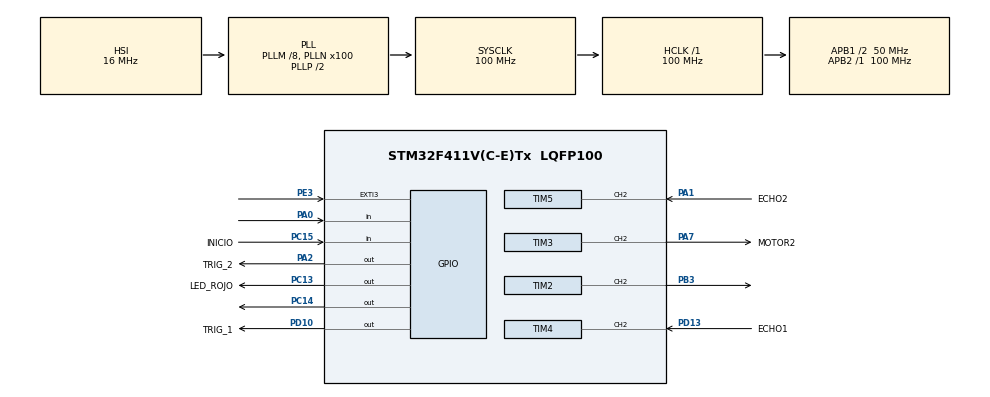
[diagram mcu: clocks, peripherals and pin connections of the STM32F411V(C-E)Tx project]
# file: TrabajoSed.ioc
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Mcu.Family=STM32F4
Mcu.Name=STM32F411V(C-E)Tx
Mcu.Package=LQFP100
NVIC.EXTI3_IRQn=true\:0\:0\:false\:false\:true\:true\:true\:true
NVIC.PriorityGroup=NVIC_PRIORITYGROUP_0
NVIC.TIM4_IRQn=true\:0\:0\:false\:false\:true\:true\:true\:true
NVIC.TIM5_IRQn=true\:0\:0\:false\:false\:true\:true\:true\:true
PA0-WKUP.GPIO_PuPd=GPIO_PULLUP
PA0-WKUP.Signal=GPIO_Input
PA1.GPIO_Label=ECHO2
PA1.Signal=S_TIM5_CH2
PA13.Mode=Serial_Wire
PA13.Signal=SYS_JTMS-SWDIO
PA14.Mode=Serial_Wire
PA14.Signal=SYS_JTCK-SWCLK
PA2.GPIO_Label=TRIG_2
PA2.Signal=GPIO_Output
PA7.GPIO_Label=MOTOR2
PA7.Signal=S_TIM3_CH2
PB3.Signal=S_TIM2_CH2
PC13-ANTI_TAMP.GPIO_Label=LED_ROJO
PC13-ANTI_TAMP.Signal=GPIO_Output
PC14-OSC32_IN.Signal=GPIO_Output
PC15-OSC32_OUT.GPIO_Label=INICIO
PC15-OSC32_OUT.GPIO_PuPd=GPIO_PULLUP
PC15-OSC32_OUT.Signal=GPIO_Input
PD10.GPIO_Label=TRIG_1
PD10.Signal=GPIO_Output
PD13.GPIO_Label=ECHO1
PD13.Signal=S_TIM4_CH2
PE3.GPIO_ModeDefaultEXTI=GPIO_MODE_IT_RISING
PE3.GPIO_PuPd=GPIO_PULLUP
PE3.Signal=GPXTI3
ProjectManager.HeapSize=0x200
ProjectManager.StackSize=0x400
ProjectManager.TargetToolchain=STM32CubeIDE
RCC.48MHZClocksFreq_Value=25000000
RCC.AHBFreq_Value=100000000
RCC.APB1CLKDivider=RCC_HCLK_DIV2
RCC.APB1Freq_Value=50000000
RCC.APB1TimFreq_Value=100000000
RCC.APB2Freq_Value=100000000
RCC.APB2TimFreq_Value=100000000
RCC.CortexFreq_Value=100000000
RCC.HCLKFreq_Value=100000000
RCC.HSE_VALUE=8000000
RCC.HSI_VALUE=16000000
RCC.LSE_VALUE=32768
RCC.PLLI2SM=5
RCC.PLLI2SN=200
RCC.PLLM=8
RCC.PLLN=100
RCC.PLLQ=8
RCC.SYSCLKFreq_VALUE=100000000
RCC.SYSCLKSource=RCC_SYSCLKSOURCE_PLLCLK
RCC.VCOOutputFreq_Value=200000000
SH.S_TIM2_CH2.0=TIM2_CH2,PWM Generation2 CH2
SH.S_TIM3_CH2.0=TIM3_CH2,PWM Generation2 CH2
SH.S_TIM4_CH2.0=TIM4_CH2,Input_Capture2_from_TI2
SH.S_TIM5_CH2.0=TIM5_CH2,Input_Capture2_from_TI2
TIM2.Channel-PWM\ Generation2\ CH2=TIM_CHANNEL_2
TIM2.Period=10000-1
TIM2.Prescaler=100-1
TIM3.Channel-PWM\ Generation2\ CH2=TIM_CHANNEL_2
TIM3.Period=10000-1
TIM3.Prescaler=100-1
TIM4.Channel-Input_Capture2_from_TI2=TIM_CHANNEL_2
TIM4.ICFilter_CH2=4
TIM4.Prescaler=100-1
TIM5.Channel-Input_Capture2_from_TI2=TIM_CHANNEL_2
TIM5.ICFilter_CH2=4
TIM5.Period=65535
TIM5.Prescaler=100-1
VP_TIM2_VS_ClockSourceINT.Mode=Internal
VP_TIM3_VS_ClockSourceINT.Mode=Internal
VP_TIM4_VS_ClockSourceINT.Mode=Internal
VP_TIM5_VS_ClockSourceINT.Mode=Internal
board=STM32F411E-DISCO

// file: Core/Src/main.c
/* USER CODE BEGIN Header */
/**
  ******************************************************************************
  * @file           : main.c
  * @brief          : Main program body
  ******************************************************************************
  * @attention
  *
  * Copyright (c) 2025 STMicroelectronics.
  * All rights reserved.
  *
  * This software is licensed under terms that can be found in the LICENSE file
  * in the root directory of this software component.
  * If no LICENSE file comes with this software, it is provided AS-IS.
  *
  ******************************************************************************
  */
/* USER CODE END Header */
#include "main.h"

/* USER CODE BEGIN Includes */
typedef enum {
    WAITING_BUTTON,
	lavando,
    MOVING_MOTOR_2,
	EMERGENCY  // Nuevo estado
} SystemState;
/* USER CODE END PTD */
volatile SystemState currentState = WAITING_BUTTON;

/* USER CODE END Includes */

/* USER CODE BEGIN PD */
// Definiciones de pines
#define BUTTON_PIN GPIO_PIN_15
#define BUTTON_PORT GPIOC

#define EMERGENCY_BUTTON_PIN GPIO_PIN_3  // Botón de emergencia en PC15
#define EMERGENCY_PORT GPIOE             // Puerto del botón de emergencia

#define USER_BUTTON_PIN GPIO_PIN_0       // Botón de usuario (rearme) en PA0
#define USER_BUTTON_PORT GPIOA          // Puerto del botón de usuario

#define LED_RED_PIN GPIO_PIN_13
#define LED_GREEN_PIN GPIO_PIN_14
#define LED_PORT GPIOC

#define MOTOR1_PIN GPIO_PIN_10
#define MOTOR2_PIN GPIO_PIN_7
#define MOTOR1_PORT GPIOB
#define MOTOR2_PORT GPIOA

#define ECHO2_PIN GPIO_PIN_1
#define TRIG2_PIN GPIO_PIN_2
#define ECHO_PIN GPIO_PIN_13
#define TRIG_PIN GPIO_PIN_10
#define ULTRASONIC_PORT GPIOD
#define ULTRASONIC_PORT2 GPIOA

/* USER CODE END PD */

/* USER CODE BEGIN PM */
uint32_t previousTime = 0;
uint32_t interval = 500;  // Intervalo de parpadeo en milisegundos
volatile uint8_t emergencyFlag = 0;
/* USER CODE END PM */

TIM_HandleTypeDef htim2;
TIM_HandleTypeDef htim3;
TIM_HandleTypeDef htim4;
TIM_HandleTypeDef htim5;

void SystemClock_Config(void);
static void MX_GPIO_Init(void);
static void MX_TIM2_Init(void);
static void MX_TIM3_Init(void);
static void MX_TIM4_Init(void);
static void MX_TIM5_Init(void);
/* USER CODE BEGIN PFP */
void delayMicroseconds(uint16_t microseconds);

void delayMicroseconds(uint16_t microseconds) {
    __HAL_TIM_SET_COUNTER(&htim4, 0); // Reinicia el contador
    while (__HAL_TIM_GET_COUNTER(&htim4) < microseconds); // Espera
}

/* USER CODE END 0 */

// Interrupción GPIO
void HAL_GPIO_EXTI_Callback(uint16_t GPIO_Pin) {
    if (GPIO_Pin == EMERGENCY_BUTTON_PIN) {
        emergencyFlag = 1; // Activar la bandera de emergencia
    }
}
float readUltrasonicDistance1(void) {
    // Emitir pulso TRIG
	    uint32_t startTime = 0, endTime = 0;
	    HAL_TIM_Base_Start(&htim4);
	    // Genera el pulso TRIG (10µs)
	    HAL_GPIO_WritePin(ULTRASONIC_PORT, TRIG_PIN, GPIO_PIN_SET);
	    delayMicroseconds(10);
	    HAL_GPIO_WritePin(ULTRASONIC_PORT, TRIG_PIN, GPIO_PIN_RESET);

	    // Espera el inicio del pulso ECHO
	    while (HAL_GPIO_ReadPin(ULTRASONIC_PORT, ECHO_PIN) == GPIO_PIN_RESET);

	    startTime = __HAL_TIM_GET_COUNTER(&htim4); // Marca el tiempo inicial

	    // Espera el final del pulso ECHO
	    while (HAL_GPIO_ReadPin(ULTRASONIC_PORT, ECHO_PIN) == GPIO_PIN_SET);

	    endTime = __HAL_TIM_GET_COUNTER(&htim4); // Marca el tiempo final

	    // Calcula la duración del pulso (en microsegundos)
	    uint32_t duration = endTime - startTime;

	    // Calcula la distancia en cm (velocidad del sonido: 34300 cm/s)
	    return (duration * 0.0343) / 2;
}
float readUltrasonicDistance2(void) {
    // Emitir pulso TRIG
	    uint32_t startTime = 0, endTime = 0;
	    HAL_TIM_Base_Start(&htim5);
	    // Genera el pulso TRIG (10µs)
	    HAL_GPIO_WritePin(ULTRASONIC_PORT2, TRIG2_PIN, GPIO_PIN_SET);
	    delayMicroseconds(10);
	    HAL_GPIO_WritePin(ULTRASONIC_PORT2, TRIG2_PIN, GPIO_PIN_RESET);

	    // Espera el inicio del pulso ECHO
	    while (HAL_GPIO_ReadPin(ULTRASONIC_PORT2, ECHO2_PIN) == GPIO_PIN_RESET);

	    startTime = __HAL_TIM_GET_COUNTER(&htim5); // Marca el tiempo inicial

	    // Espera el final del pulso ECHO
	    while (HAL_GPIO_ReadPin(ULTRASONIC_PORT2, ECHO2_PIN) == GPIO_PIN_SET);

	    endTime = __HAL_TIM_GET_COUNTER(&htim5); // Marca el tiempo final

	    // Calcula la duración del pulso (en microsegundos)
	    uint32_t duration = endTime - startTime;

	    // Calcula la distancia en cm (velocidad del sonido: 34300 cm/s)
	    return (duration * 0.0343) / 2;
}

void moveMotor1(void) {
	   __HAL_TIM_SET_COMPARE(&htim2, TIM_CHANNEL_2, 500);
	     HAL_Delay(5000);  // Tiempo para subir la barrera
	  __HAL_TIM_SET_COMPARE(&htim2, TIM_CHANNEL_2, 2000);
}

void moveMotor2(void) {
	   __HAL_TIM_SET_COMPARE(&htim3, TIM_CHANNEL_2, 500);
	     HAL_Delay(5000);  // Tiempo para subir la barrera
	  __HAL_TIM_SET_COMPARE(&htim3, TIM_CHANNEL_2, 2000);
}

void toggleLEDs(int presenceDetected) {
    if (presenceDetected) {
        HAL_GPIO_WritePin(LED_PORT, LED_RED_PIN, GPIO_PIN_SET); // Apagar LED rojo
        HAL_GPIO_WritePin(LED_PORT, LED_GREEN_PIN, GPIO_PIN_RESET); // Encender LED verde
    } else {
        HAL_GPIO_WritePin(LED_PORT, LED_RED_PIN, GPIO_PIN_RESET);   // Encender LED rojo
        HAL_GPIO_WritePin(LED_PORT, LED_GREEN_PIN, GPIO_PIN_SET); // Apagar LED verde
    }
}
void handleEmergency(void) {
    // Parpadeo de ambos LEDs (rojo y verde) en el estado de emergencia
	 while (1) {
	        // Parpadeo de los LEDs
	        HAL_GPIO_TogglePin(GPIOC, GPIO_PIN_14); // LED verde
	        HAL_GPIO_TogglePin(GPIOC, GPIO_PIN_13); // LED rojo
	        HAL_Delay(500);

	        // Verificar si el botón de rearme (PA0) fue presionado
	       if (HAL_GPIO_ReadPin(GPIOA, GPIO_PIN_0) == GPIO_PIN_RESET) {
	            currentState = WAITING_BUTTON;
	            emergencyFlag = 0; // Restablecer la bandera de emergencia
	           break; // Salir de la función de emergencia
	        }
	    }
}

void process() {
    toggleLEDs(1);

    float distance = 0.0;  // Para el ultrasonido 1
    float distance2 = 0.0; // Para el ultrasonido 2

    // Manejo de estados
    switch (currentState) {
        case WAITING_BUTTON:
            // Verificar la bandera de emergencia
            if (emergencyFlag) return;

            distance = readUltrasonicDistance1();

            if (HAL_GPIO_ReadPin(GPIOC, GPIO_PIN_15) == GPIO_PIN_RESET) {
                if (distance > 10.0) {
                    HAL_TIM_PWM_Start(&htim2, TIM_CHANNEL_2); // Iniciar motor 2
                    moveMotor1();
                    currentState = lavando; // Cambiar al estado de lavado
                }
            }
            break;

        case lavando:
            // Verificar la bandera de emergencia
            if (emergencyFlag) return;

            if (distance < 10.0) {
                for (int i = 0; i < 5; i++) {
                    HAL_GPIO_WritePin(GPIOC, GPIO_PIN_14, GPIO_PIN_SET);
                    HAL_Delay(1000); // Simula tiempo de lavado
                    HAL_GPIO_WritePin(GPIOC, GPIO_PIN_14, GPIO_PIN_RESET);
                    HAL_Delay(1000);

                    // Verificar la bandera de emergencia en cada iteración
                    if (emergencyFlag) return;
                }
                currentState = MOVING_MOTOR_2; // Cambiar al estado de mover motor 2
            }
            break;

        case MOVING_MOTOR_2:
            // Verificar la bandera de emergencia
            if (emergencyFlag) return;

            distance2 = readUltrasonicDistance2();
            if (distance2 < 7.0) {
                HAL_TIM_PWM_Start(&htim3, TIM_CHANNEL_2); // Iniciar motor 2
                moveMotor2();                             // Mover motor 2
                toggleLEDs(1);                            // Encender LED rojo
                currentState = WAITING_BUTTON;            // Volver al estado inicial
            }
            break;

        default:
            currentState = WAITING_BUTTON; // Reiniciar estado por seguridad
            break;
    }
}

/* USER CODE END PFP */

int main(void)
{

  /* MCU Configuration--------------------------------------------------------*/

  /* Reset of all peripherals, Initializes the Flash interface and the Systick. */
  HAL_Init();

  /* Configure the system clock */
  SystemClock_Config();

  /* Initialize all configured peripherals */
  MX_GPIO_Init();
  MX_TIM2_Init();
  MX_TIM3_Init();
  MX_TIM4_Init();
  MX_TIM5_Init();

  /* Infinite loop */
  /* USER CODE BEGIN WHILE */
  while (1) {
         if (emergencyFlag) {
             handleEmergency(); // Llamar a la función de emergencia
         } else {
             process(); // Ejecutar el proceso principal
         }

         HAL_Delay(100); // Pausa para evitar uso intensivo del procesador
     }
    /* USER CODE END WHILE */

}

void SystemClock_Config(void)
{
  RCC_OscInitTypeDef RCC_OscInitStruct = {0};
  RCC_ClkInitTypeDef RCC_ClkInitStruct = {0};

  /** Configure the main internal regulator output voltage
  */
  __HAL_RCC_PWR_CLK_ENABLE();
  __HAL_PWR_VOLTAGESCALING_CONFIG(PWR_REGULATOR_VOLTAGE_SCALE1);

  /** Initializes the RCC Oscillators according to the specified parameters
  * in the RCC_OscInitTypeDef structure.
  */
  RCC_OscInitStruct.OscillatorType = RCC_OSCILLATORTYPE_HSI;
  RCC_OscInitStruct.HSIState = RCC_HSI_ON;
  RCC_OscInitStruct.HSICalibrationValue = RCC_HSICALIBRATION_DEFAULT;
  RCC_OscInitStruct.PLL.PLLState = RCC_PLL_ON;
  RCC_OscInitStruct.PLL.PLLSource = RCC_PLLSOURCE_HSI;
  RCC_OscInitStruct.PLL.PLLM = 8;
  RCC_OscInitStruct.PLL.PLLN = 100;
  RCC_OscInitStruct.PLL.PLLP = RCC_PLLP_DIV2;
  RCC_OscInitStruct.PLL.PLLQ = 8;
  if (HAL_RCC_OscConfig(&RCC_OscInitStruct) != HAL_OK)
  {
    Error_Handler();
  }

  /** Initializes the CPU, AHB and APB buses clocks
  */
  RCC_ClkInitStruct.ClockType = RCC_CLOCKTYPE_HCLK|RCC_CLOCKTYPE_SYSCLK
                              |RCC_CLOCKTYPE_PCLK1|RCC_CLOCKTYPE_PCLK2;
  RCC_ClkInitStruct.SYSCLKSource = RCC_SYSCLKSOURCE_PLLCLK;
  RCC_ClkInitStruct.AHBCLKDivider = RCC_SYSCLK_DIV1;
  RCC_ClkInitStruct.APB1CLKDivider = RCC_HCLK_DIV2;
  RCC_ClkInitStruct.APB2CLKDivider = RCC_HCLK_DIV1;

  if (HAL_RCC_ClockConfig(&RCC_ClkInitStruct, FLASH_LATENCY_3) != HAL_OK)
  {
    Error_Handler();
  }
}

static void MX_TIM2_Init(void)
{

  TIM_ClockConfigTypeDef sClockSourceConfig = {0};
  TIM_MasterConfigTypeDef sMasterConfig = {0};
  TIM_OC_InitTypeDef sConfigOC = {0};

  htim2.Instance = TIM2;
  htim2.Init.Prescaler = 100-1;
  htim2.Init.CounterMode = TIM_COUNTERMODE_UP;
  htim2.Init.Period = 10000-1;
  htim2.Init.ClockDivision = TIM_CLOCKDIVISION_DIV1;
  htim2.Init.AutoReloadPreload = TIM_AUTORELOAD_PRELOAD_DISABLE;
  if (HAL_TIM_Base_Init(&htim2) != HAL_OK)
  {
    Error_Handler();
  }
  sClockSourceConfig.ClockSource = TIM_CLOCKSOURCE_INTERNAL;
  if (HAL_TIM_ConfigClockSource(&htim2, &sClockSourceConfig) != HAL_OK)
  {
    Error_Handler();
  }
  if (HAL_TIM_PWM_Init(&htim2) != HAL_OK)
  {
    Error_Handler();
  }
  sMasterConfig.MasterOutputTrigger = TIM_TRGO_RESET;
  sMasterConfig.MasterSlaveMode = TIM_MASTERSLAVEMODE_DISABLE;
  if (HAL_TIMEx_MasterConfigSynchronization(&htim2, &sMasterConfig) != HAL_OK)
  {
    Error_Handler();
  }
  sConfigOC.OCMode = TIM_OCMODE_PWM1;
  sConfigOC.Pulse = 0;
  sConfigOC.OCPolarity = TIM_OCPOLARITY_HIGH;
  sConfigOC.OCFastMode = TIM_OCFAST_DISABLE;
  if (HAL_TIM_PWM_ConfigChannel(&htim2, &sConfigOC, TIM_CHANNEL_2) != HAL_OK)
  {
    Error_Handler();
  }
  HAL_TIM_MspPostInit(&htim2);

}

static void MX_TIM3_Init(void)
{

  TIM_ClockConfigTypeDef sClockSourceConfig = {0};
  TIM_MasterConfigTypeDef sMasterConfig = {0};
  TIM_OC_InitTypeDef sConfigOC = {0};

  htim3.Instance = TIM3;
  htim3.Init.Prescaler = 100-1;
  htim3.Init.CounterMode = TIM_COUNTERMODE_UP;
  htim3.Init.Period = 10000-1;
  htim3.Init.ClockDivision = TIM_CLOCKDIVISION_DIV1;
  htim3.Init.AutoReloadPreload = TIM_AUTORELOAD_PRELOAD_DISABLE;
  if (HAL_TIM_Base_Init(&htim3) != HAL_OK)
  {
    Error_Handler();
  }
  sClockSourceConfig.ClockSource = TIM_CLOCKSOURCE_INTERNAL;
  if (HAL_TIM_ConfigClockSource(&htim3, &sClockSourceConfig) != HAL_OK)
  {
    Error_Handler();
  }
  if (HAL_TIM_PWM_Init(&htim3) != HAL_OK)
  {
    Error_Handler();
  }
  sMasterConfig.MasterOutputTrigger = TIM_TRGO_RESET;
  sMasterConfig.MasterSlaveMode = TIM_MASTERSLAVEMODE_DISABLE;
  if (HAL_TIMEx_MasterConfigSynchronization(&htim3, &sMasterConfig) != HAL_OK)
  {
    Error_Handler();
  }
  sConfigOC.OCMode = TIM_OCMODE_PWM1;
  sConfigOC.Pulse = 0;
  sConfigOC.OCPolarity = TIM_OCPOLARITY_HIGH;
  sConfigOC.OCFastMode = TIM_OCFAST_DISABLE;
  if (HAL_TIM_PWM_ConfigChannel(&htim3, &sConfigOC, TIM_CHANNEL_2) != HAL_OK)
  {
    Error_Handler();
  }
  HAL_TIM_MspPostInit(&htim3);

}

static void MX_TIM4_Init(void)
{

  TIM_ClockConfigTypeDef sClockSourceConfig = {0};
  TIM_MasterConfigTypeDef sMasterConfig = {0};
  TIM_IC_InitTypeDef sConfigIC = {0};

  htim4.Instance = TIM4;
  htim4.Init.Prescaler = 100-1;
  htim4.Init.CounterMode = TIM_COUNTERMODE_UP;
  htim4.Init.Period = 65535;
  htim4.Init.ClockDivision = TIM_CLOCKDIVISION_DIV1;
  htim4.Init.AutoReloadPreload = TIM_AUTORELOAD_PRELOAD_DISABLE;
  if (HAL_TIM_Base_Init(&htim4) != HAL_OK)
  {
    Error_Handler();
  }
  sClockSourceConfig.ClockSource = TIM_CLOCKSOURCE_INTERNAL;
  if (HAL_TIM_ConfigClockSource(&htim4, &sClockSourceConfig) != HAL_OK)
  {
    Error_Handler();
  }
  if (HAL_TIM_IC_Init(&htim4) != HAL_OK)
  {
    Error_Handler();
  }
  sMasterConfig.MasterOutputTrigger = TIM_TRGO_RESET;
  sMasterConfig.MasterSlaveMode = TIM_MASTERSLAVEMODE_DISABLE;
  if (HAL_TIMEx_MasterConfigSynchronization(&htim4, &sMasterConfig) != HAL_OK)
  {
    Error_Handler();
  }
  sConfigIC.ICPolarity = TIM_INPUTCHANNELPOLARITY_RISING;
  sConfigIC.ICSelection = TIM_ICSELECTION_DIRECTTI;
  sConfigIC.ICPrescaler = TIM_ICPSC_DIV1;
  sConfigIC.ICFilter = 4;
  if (HAL_TIM_IC_ConfigChannel(&htim4, &sConfigIC, TIM_CHANNEL_2) != HAL_OK)
  {
    Error_Handler();
  }

}

static void MX_TIM5_Init(void)
{

  TIM_ClockConfigTypeDef sClockSourceConfig = {0};
  TIM_MasterConfigTypeDef sMasterConfig = {0};
  TIM_IC_InitTypeDef sConfigIC = {0};

  htim5.Instance = TIM5;
  htim5.Init.Prescaler = 100-1;
  htim5.Init.CounterMode = TIM_COUNTERMODE_UP;
  htim5.Init.Period = 65535;
  htim5.Init.ClockDivision = TIM_CLOCKDIVISION_DIV1;
  htim5.Init.AutoReloadPreload = TIM_AUTORELOAD_PRELOAD_DISABLE;
  if (HAL_TIM_Base_Init(&htim5) != HAL_OK)
  {
    Error_Handler();
  }
  sClockSourceConfig.ClockSource = TIM_CLOCKSOURCE_INTERNAL;
  if (HAL_TIM_ConfigClockSource(&htim5, &sClockSourceConfig) != HAL_OK)
  {
    Error_Handler();
  }
  if (HAL_TIM_IC_Init(&htim5) != HAL_OK)
  {
    Error_Handler();
  }
  sMasterConfig.MasterOutputTrigger = TIM_TRGO_RESET;
  sMasterConfig.MasterSlaveMode = TIM_MASTERSLAVEMODE_DISABLE;
  if (HAL_TIMEx_MasterConfigSynchronization(&htim5, &sMasterConfig) != HAL_OK)
  {
    Error_Handler();
  }
  sConfigIC.ICPolarity = TIM_INPUTCHANNELPOLARITY_RISING;
  sConfigIC.ICSelection = TIM_ICSELECTION_DIRECTTI;
  sConfigIC.ICPrescaler = TIM_ICPSC_DIV1;
  sConfigIC.ICFilter = 4;
  if (HAL_TIM_IC_ConfigChannel(&htim5, &sConfigIC, TIM_CHANNEL_2) != HAL_OK)
  {
    Error_Handler();
  }

}

static void MX_GPIO_Init(void)
{
  GPIO_InitTypeDef GPIO_InitStruct = {0};

  /* GPIO Ports Clock Enable */
  __HAL_RCC_GPIOE_CLK_ENABLE();
  __HAL_RCC_GPIOC_CLK_ENABLE();
  __HAL_RCC_GPIOA_CLK_ENABLE();
  __HAL_RCC_GPIOD_CLK_ENABLE();
  __HAL_RCC_GPIOB_CLK_ENABLE();

  /*Configure GPIO pin Output Level */
  HAL_GPIO_WritePin(GPIOC, LED_ROJO_Pin|GPIO_PIN_14, GPIO_PIN_RESET);

  /*Configure GPIO pin Output Level */
  HAL_GPIO_WritePin(TRIG_2_GPIO_Port, TRIG_2_Pin, GPIO_PIN_RESET);

  /*Configure GPIO pin Output Level */
  HAL_GPIO_WritePin(TRIG_1_GPIO_Port, TRIG_1_Pin, GPIO_PIN_RESET);

  /*Configure GPIO pin : PE3 */
  GPIO_InitStruct.Pin = GPIO_PIN_3;
  GPIO_InitStruct.Mode = GPIO_MODE_IT_RISING;
  GPIO_InitStruct.Pull = GPIO_PULLUP;
  HAL_GPIO_Init(GPIOE, &GPIO_InitStruct);

  /*Configure GPIO pins : LED_ROJO_Pin PC14 */
  GPIO_InitStruct.Pin = LED_ROJO_Pin|GPIO_PIN_14;
  GPIO_InitStruct.Mode = GPIO_MODE_OUTPUT_PP;
  GPIO_InitStruct.Pull = GPIO_NOPULL;
  GPIO_InitStruct.Speed = GPIO_SPEED_FREQ_LOW;
  HAL_GPIO_Init(GPIOC, &GPIO_InitStruct);

  /*Configure GPIO pin : INICIO_Pin */
  GPIO_InitStruct.Pin = INICIO_Pin;
  GPIO_InitStruct.Mode = GPIO_MODE_INPUT;
  GPIO_InitStruct.Pull = GPIO_PULLUP;
  HAL_GPIO_Init(INICIO_GPIO_Port, &GPIO_InitStruct);

  /*Configure GPIO pin : PA0 */
  GPIO_InitStruct.Pin = GPIO_PIN_0;
  GPIO_InitStruct.Mode = GPIO_MODE_INPUT;
  GPIO_InitStruct.Pull = GPIO_PULLUP;
  HAL_GPIO_Init(GPIOA, &GPIO_InitStruct);

  /*Configure GPIO pin : TRIG_2_Pin */
  GPIO_InitStruct.Pin = TRIG_2_Pin;
  GPIO_InitStruct.Mode = GPIO_MODE_OUTPUT_PP;
  GPIO_InitStruct.Pull = GPIO_NOPULL;
  GPIO_InitStruct.Speed = GPIO_SPEED_FREQ_LOW;
  HAL_GPIO_Init(TRIG_2_GPIO_Port, &GPIO_InitStruct);

  /*Configure GPIO pin : TRIG_1_Pin */
  GPIO_InitStruct.Pin = TRIG_1_Pin;
  GPIO_InitStruct.Mode = GPIO_MODE_OUTPUT_PP;
  GPIO_InitStruct.Pull = GPIO_NOPULL;
  GPIO_InitStruct.Speed = GPIO_SPEED_FREQ_LOW;
  HAL_GPIO_Init(TRIG_1_GPIO_Port, &GPIO_InitStruct);

  /* EXTI interrupt init*/
  HAL_NVIC_SetPriority(EXTI3_IRQn, 0, 0);
  HAL_NVIC_EnableIRQ(EXTI3_IRQn);

}

void Error_Handler(void)
{
  __disable_irq();
  while (1)
  {
  }
}
